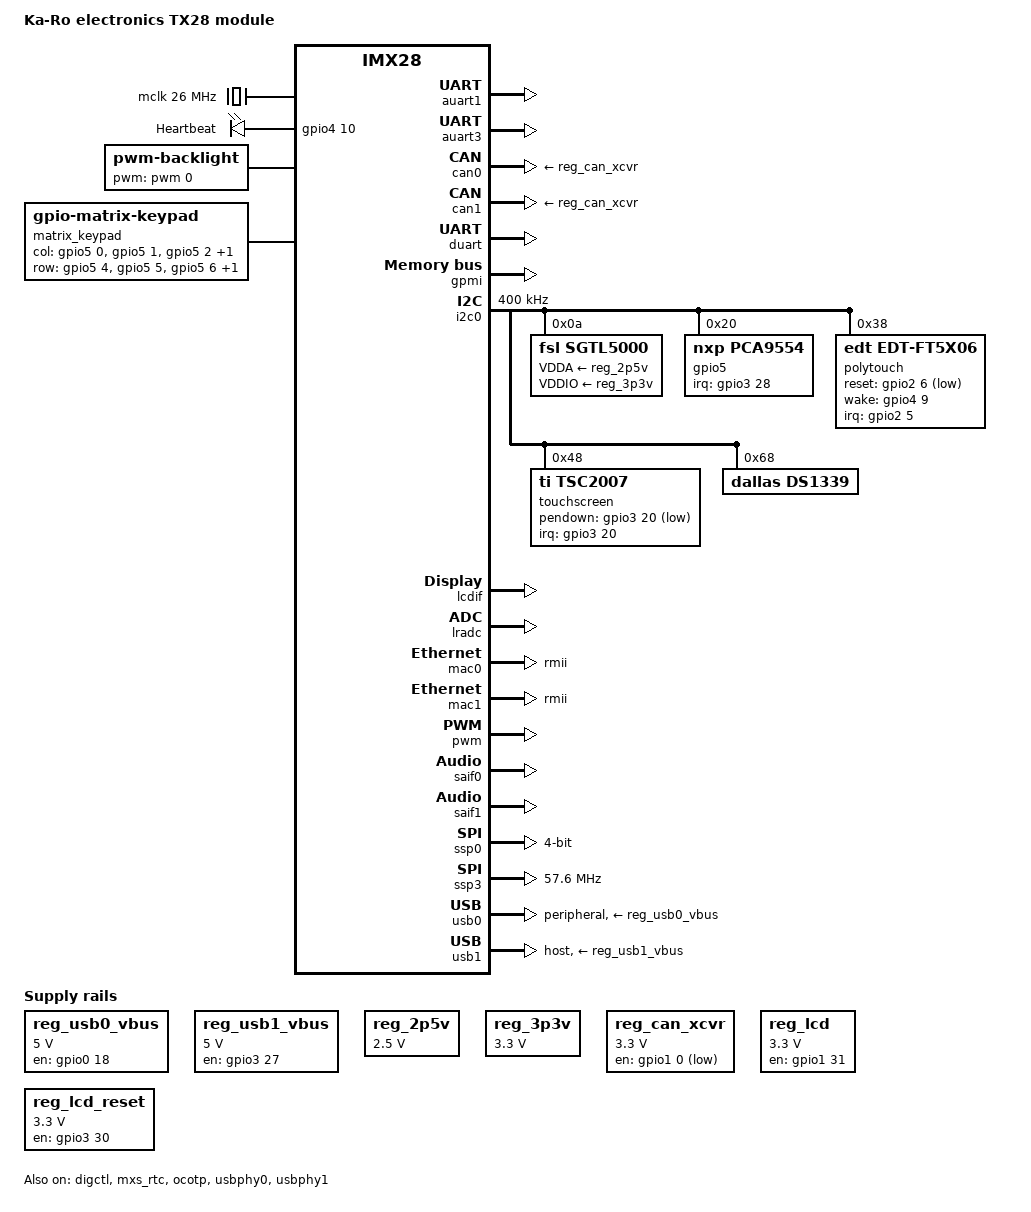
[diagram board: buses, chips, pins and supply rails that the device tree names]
// SPDX-License-Identifier: GPL-2.0 OR MIT
/*
 * Copyright 2012 Shawn Guo <shawn.guo@linaro.org>
 * Copyright 2013-2017 Lothar Waßmann <LW@KARO-electronics.de>
 */

/dts-v1/;
#include "imx28.dtsi"
#include <dt-bindings/gpio/gpio.h>
#include <dt-bindings/interrupt-controller/irq.h>

/ {
	model = "Ka-Ro electronics TX28 module";
	compatible = "karo,tx28", "fsl,imx28";

	aliases {
		can0 = &can0;
		can1 = &can1;
		display = &display0;
		ds1339 = &ds1339;
		gpio5 = &gpio5;
		lcdif = &lcdif;
		lcdif_23bit_pins = &tx28_lcdif_23bit_pins;
		lcdif_24bit_pins = &lcdif_24bit_pins_a;
		reg_can_xcvr = &reg_can_xcvr;
		spi_gpio = &spi_gpio;
		spi_mxs = &ssp3;
		stk5led = &user_led;
		usbotg = &usb0;
	};

	memory@40000000 {
		device_type = "memory";
		reg = <0x40000000 0>; /* will be filled in by U-Boot */
	};

	onewire {
		compatible = "w1-gpio";
		gpios = <&gpio2 7 GPIO_ACTIVE_HIGH>;
		status = "disabled";
	};

	reg_usb0_vbus: regulator-usb0-vbus {
		compatible = "regulator-fixed";
		regulator-name = "usb0_vbus";
		regulator-min-microvolt = <5000000>;
		regulator-max-microvolt = <5000000>;
		gpio = <&gpio0 18 GPIO_ACTIVE_HIGH>;
		enable-active-high;
	};

	reg_usb1_vbus: regulator-usb1-vbus {
		compatible = "regulator-fixed";
		regulator-name = "usb1_vbus";
		regulator-min-microvolt = <5000000>;
		regulator-max-microvolt = <5000000>;
		gpio = <&gpio3 27 GPIO_ACTIVE_HIGH>;
		enable-active-high;
	};

	reg_2p5v: regulator-2p5v {
		compatible = "regulator-fixed";
		regulator-name = "2P5V";
		regulator-min-microvolt = <2500000>;
		regulator-max-microvolt = <2500000>;
		regulator-always-on;
	};

	reg_3p3v: regulator-3p3v {
		compatible = "regulator-fixed";
		regulator-name = "3P3V";
		regulator-min-microvolt = <3300000>;
		regulator-max-microvolt = <3300000>;
		regulator-always-on;
	};

	reg_can_xcvr: regulator-can-xcvr {
		compatible = "regulator-fixed";
		regulator-name = "CAN XCVR";
		regulator-min-microvolt = <3300000>;
		regulator-max-microvolt = <3300000>;
		gpio = <&gpio1 0 GPIO_ACTIVE_HIGH>;
		pinctrl-names = "default";
		pinctrl-0 = <&tx28_flexcan_xcvr_pins>;
	};

	reg_lcd: regulator-lcd-power {
		compatible = "regulator-fixed";
		regulator-name = "LCD POWER";
		regulator-min-microvolt = <3300000>;
		regulator-max-microvolt = <3300000>;
		gpio = <&gpio1 31 GPIO_ACTIVE_HIGH>;
		enable-active-high;
	};

	reg_lcd_reset: regulator-lcd-reset {
		compatible = "regulator-fixed";
		regulator-name = "LCD RESET";
		regulator-min-microvolt = <3300000>;
		regulator-max-microvolt = <3300000>;
		gpio = <&gpio3 30 GPIO_ACTIVE_HIGH>;
		startup-delay-us = <300000>;
		enable-active-high;
		regulator-always-on;
		regulator-boot-on;
	};

	mclk: clock-mclk {
		compatible = "fixed-clock";
		#clock-cells = <0>;
		clock-frequency = <26000000>;
	};

	sound {
		compatible = "fsl,imx28-tx28-sgtl5000",
			     "fsl,mxs-audio-sgtl5000";
		model = "imx28-tx28-sgtl5000";
		saif-controllers = <&saif0 &saif1>;
		audio-codec = <&sgtl5000>;
	};

	leds {
		compatible = "gpio-leds";

		user_led: user {
			label = "Heartbeat";
			gpios = <&gpio4 10 GPIO_ACTIVE_HIGH>;
			linux,default-trigger = "heartbeat";
		};
	};

	backlight {
		compatible = "pwm-backlight";
		pwms = <&pwm 0 500000 0>;
		/*
		 * a silly way to create a 1:1 relationship between the
		 * PWM value and the actual duty cycle
		 */
		brightness-levels = < 0  1  2  3  4  5  6  7  8  9
				     10 11 12 13 14 15 16 17 18 19
				     20 21 22 23 24 25 26 27 28 29
				     30 31 32 33 34 35 36 37 38 39
				     40 41 42 43 44 45 46 47 48 49
				     50 51 52 53 54 55 56 57 58 59
				     60 61 62 63 64 65 66 67 68 69
				     70 71 72 73 74 75 76 77 78 79
				     80 81 82 83 84 85 86 87 88 89
				     90 91 92 93 94 95 96 97 98 99
				    100>;
		default-brightness-level = <50>;
	};

	matrix_keypad: matrix-keypad {
		compatible = "gpio-matrix-keypad";
		col-gpios = <
			&gpio5 0 GPIO_ACTIVE_HIGH
			&gpio5 1 GPIO_ACTIVE_HIGH
			&gpio5 2 GPIO_ACTIVE_HIGH
			&gpio5 3 GPIO_ACTIVE_HIGH
		>;
		row-gpios = <
			&gpio5 4 GPIO_ACTIVE_HIGH
			&gpio5 5 GPIO_ACTIVE_HIGH
			&gpio5 6 GPIO_ACTIVE_HIGH
			&gpio5 7 GPIO_ACTIVE_HIGH
		>;
		/* sample keymap */
		linux,keymap = <
			0x00000074 /* row 0, col 0, KEY_POWER */
			0x00010052 /* row 0, col 1, KEY_KP0 */
			0x0002004f /* row 0, col 2, KEY_KP1 */
			0x00030050 /* row 0, col 3, KEY_KP2 */
			0x01000051 /* row 1, col 0, KEY_KP3 */
			0x0101004b /* row 1, col 1, KEY_KP4 */
			0x0102004c /* row 1, col 2, KEY_KP5 */
			0x0103004d /* row 1, col 3, KEY_KP6 */
			0x02000047 /* row 2, col 0, KEY_KP7 */
			0x02010048 /* row 2, col 1, KEY_KP8 */
			0x02020049 /* row 2, col 2, KEY_KP9 */
		>;
		gpio-activelow;
		wakeup-source;
		debounce-delay-ms = <100>;
		col-scan-delay-us = <5000>;
		linux,no-autorepeat;
	};

	spi_gpio: spi {
		compatible = "spi-gpio";
		#address-cells = <1>;
		#size-cells = <0>;
		pinctrl-names = "default";
		pinctrl-0 = <&tx28_spi_gpio_pins>;

		sck-gpios = <&gpio2 24 GPIO_ACTIVE_HIGH>;
		mosi-gpios = <&gpio2 25 GPIO_ACTIVE_HIGH>;
		miso-gpios = <&gpio2 26 GPIO_ACTIVE_HIGH>;
		num-chipselects = <3>;
		cs-gpios = <
			&gpio2 27 GPIO_ACTIVE_LOW
			&gpio3 8 GPIO_ACTIVE_LOW
			&gpio3 9 GPIO_ACTIVE_LOW
		>;
		/* enable this and disable ssp3 below, if you need full duplex SPI transfer */
		status = "disabled";
	};
};

/* 2nd TX-Std UART - (A)UART1  */
&auart1 {
	pinctrl-names = "default";
	pinctrl-0 = <&auart1_pins_a>;
	status = "okay";
};

/* 3rd TX-Std UART - (A)UART3  */
&auart3 {
	pinctrl-names = "default";
	pinctrl-0 = <&auart3_pins_a>;
	status = "okay";
};

&can0 {
	pinctrl-names = "default";
	pinctrl-0 = <&can0_pins_a>;
	xceiver-supply = <&reg_can_xcvr>;
	status = "okay";
};

&can1 {
	pinctrl-names = "default";
	pinctrl-0 = <&can1_pins_a>;
	xceiver-supply = <&reg_can_xcvr>;
	status = "okay";
};

&digctl {
	status = "okay";
};

/* 1st TX-Std UART - (D)UART */
&duart {
	pinctrl-names = "default";
	pinctrl-0 = <&duart_4pins_a>;
	status = "okay";
};

&gpmi {
	pinctrl-0 = <&gpmi_pins_a &gpmi_status_cfg>;
	nand-on-flash-bbt;
	status = "okay";
};

&i2c0 {
	pinctrl-names = "default";
	pinctrl-0 = <&i2c0_pins_a>;
	clock-frequency = <400000>;
	status = "okay";

	sgtl5000: sgtl5000@a {
		compatible = "fsl,sgtl5000";
		reg = <0x0a>;
		#sound-dai-cells = <0>;
		VDDA-supply = <&reg_2p5v>;
		VDDIO-supply = <&reg_3p3v>;
		clocks = <&mclk>;
	};

	gpio5: pca953x@20 {
		compatible = "nxp,pca9554";
		reg = <0x20>;
		pinctrl-names = "default";
		pinctrl-0 = <&tx28_pca9554_pins>;
		interrupt-parent = <&gpio3>;
		interrupts = <28 IRQ_TYPE_NONE>;
		gpio-controller;
		#gpio-cells = <2>;
		interrupt-controller;
		#interrupt-cells = <2>;
	};

	polytouch: edt-ft5x06@38 {
		compatible = "edt,edt-ft5x06";
		reg = <0x38>;
		pinctrl-names = "default";
		pinctrl-0 = <&tx28_edt_ft5x06_pins>;
		interrupt-parent = <&gpio2>;
		interrupts = <5 IRQ_TYPE_EDGE_FALLING>;
		reset-gpios = <&gpio2 6 GPIO_ACTIVE_LOW>;
		wake-gpios = <&gpio4 9 GPIO_ACTIVE_HIGH>;
		wakeup-source;
	};

	touchscreen: tsc2007@48 {
		compatible = "ti,tsc2007";
		reg = <0x48>;
		pinctrl-names = "default";
		pinctrl-0 = <&tx28_tsc2007_pins>;
		interrupt-parent = <&gpio3>;
		interrupts = <20 IRQ_TYPE_EDGE_FALLING>;
		pendown-gpio = <&gpio3 20 GPIO_ACTIVE_LOW>;
		ti,x-plate-ohms = /bits/ 16 <660>;
	};

	ds1339: rtc@68 {
		compatible = "dallas,ds1339";
		reg = <0x68>;
		trickle-resistor-ohms = <250>;
		trickle-diode-disable;
	};
};

&lcdif {
	pinctrl-names = "default";
	pinctrl-0 = <&lcdif_24bit_pins_a &lcdif_sync_pins_a &tx28_lcdif_ctrl_pins>;
	lcd-supply = <&reg_lcd>;
	display = <&display0>;
	status = "okay";

	display0: display0 {
		bits-per-pixel = <32>;
		bus-width = <24>;
		display-timings {
			native-mode = <&timing5>;
			timing0: timing0 {
				panel-name = "VGA";
				clock-frequency = <25175000>;
				hactive = <640>;
				vactive = <480>;
				hback-porch = <48>;
				hsync-len = <96>;
				hfront-porch = <16>;
				vback-porch = <33>;
				vsync-len = <2>;
				vfront-porch = <10>;
				hsync-active = <0>;
				vsync-active = <0>;
				de-active = <1>;
				pixelclk-active = <1>;
			};

			timing1: timing1 {
				panel-name = "ETV570";
				clock-frequency = <25175000>;
				hactive = <640>;
				vactive = <480>;
				hback-porch = <114>;
				hsync-len = <30>;
				hfront-porch = <16>;
				vback-porch = <32>;
				vsync-len = <3>;
				vfront-porch = <10>;
				hsync-active = <0>;
				vsync-active = <0>;
				de-active = <1>;
				pixelclk-active = <1>;
			};

			timing2: timing2 {
				panel-name = "ET0350";
				clock-frequency = <6500000>;
				hactive = <320>;
				vactive = <240>;
				hback-porch = <34>;
				hsync-len = <34>;
				hfront-porch = <20>;
				vback-porch = <15>;
				vsync-len = <3>;
				vfront-porch = <4>;
				hsync-active = <0>;
				vsync-active = <0>;
				de-active = <1>;
				pixelclk-active = <1>;
			};

			timing3: timing3 {
				panel-name = "ET0430";
				clock-frequency = <9000000>;
				hactive = <480>;
				vactive = <272>;
				hback-porch = <2>;
				hsync-len = <41>;
				hfront-porch = <2>;
				vback-porch = <2>;
				vsync-len = <10>;
				vfront-porch = <2>;
				hsync-active = <0>;
				vsync-active = <0>;
				de-active = <1>;
				pixelclk-active = <1>;
			};

			timing4: timing4 {
				panel-name = "ET0500", "ET0700";
				clock-frequency = <33260000>;
				hactive = <800>;
				vactive = <480>;
				hback-porch = <88>;
				hsync-len = <128>;
				hfront-porch = <40>;
				vback-porch = <33>;
				vsync-len = <2>;
				vfront-porch = <10>;
				hsync-active = <0>;
				vsync-active = <0>;
				de-active = <1>;
				pixelclk-active = <1>;
			};

			timing5: timing5 {
				panel-name = "ETQ570";
				clock-frequency = <6400000>;
				hactive = <320>;
				vactive = <240>;
				hback-porch = <38>;
				hsync-len = <30>;
				hfront-porch = <30>;
				vback-porch = <16>;
				vsync-len = <3>;
				vfront-porch = <4>;
				hsync-active = <0>;
				vsync-active = <0>;
				de-active = <1>;
				pixelclk-active = <1>;
			};
		};
	};
};

&lradc {
	fsl,lradc-touchscreen-wires = <4>;
	status = "okay";
};

&mac0 {
	phy-mode = "rmii";
	pinctrl-names = "default", "gpio_mode";
	pinctrl-0 = <&mac0_pins_a>;
	pinctrl-1 = <&tx28_mac0_pins_gpio>;
	status = "okay";
};

&mac1 {
	phy-mode = "rmii";
	pinctrl-names = "default";
	pinctrl-0 = <&mac1_pins_a>;
	/* not enabled by default */
};

&mxs_rtc {
	status = "okay";
};

&ocotp {
	status = "okay";
};

&pwm {
	pinctrl-names = "default";
	pinctrl-0 = <&pwm0_pins_a>;
	status = "okay";
};

&pinctrl {
	pinctrl-names = "default";
	pinctrl-0 = <&hog_pins_a>;

	hog_pins_a: hog@0 {
		reg = <0>;
		fsl,pinmux-ids = <
			MX28_PAD_ENET0_RXD3__GPIO_4_10 /* module LED */
		>;
		fsl,drive-strength = <MXS_DRIVE_4mA>;
		fsl,voltage = <MXS_VOLTAGE_HIGH>;
		fsl,pull-up = <MXS_PULL_DISABLE>;
	};

	tx28_edt_ft5x06_pins: tx28-edt-ft5x06-pins@0 {
		reg = <0>;
		fsl,pinmux-ids = <
			MX28_PAD_SSP0_DATA6__GPIO_2_6 /* RESET */
			MX28_PAD_SSP0_DATA5__GPIO_2_5 /* IRQ */
			MX28_PAD_ENET0_RXD2__GPIO_4_9 /* WAKE */
		>;
		fsl,drive-strength = <MXS_DRIVE_4mA>;
		fsl,voltage = <MXS_VOLTAGE_HIGH>;
		fsl,pull-up = <MXS_PULL_DISABLE>;
	};

	tx28_flexcan_xcvr_pins: tx28-flexcan-xcvr-pins@0 {
		reg = <0>;
		fsl,pinmux-ids = <
			MX28_PAD_LCD_D00__GPIO_1_0
		>;
		fsl,drive-strength = <MXS_DRIVE_4mA>;
		fsl,voltage = <MXS_VOLTAGE_HIGH>;
		fsl,pull-up = <MXS_PULL_DISABLE>;
	};

	tx28_lcdif_23bit_pins: tx28-lcdif-23bit@0 {
		reg = <0>;
		fsl,pinmux-ids = <
			/* LCD_D00 may be used as Flexcan Transceiver Enable on STK5-V5 */
			MX28_PAD_LCD_D01__LCD_D1
			MX28_PAD_LCD_D02__LCD_D2
			MX28_PAD_LCD_D03__LCD_D3
			MX28_PAD_LCD_D04__LCD_D4
			MX28_PAD_LCD_D05__LCD_D5
			MX28_PAD_LCD_D06__LCD_D6
			MX28_PAD_LCD_D07__LCD_D7
			MX28_PAD_LCD_D08__LCD_D8
			MX28_PAD_LCD_D09__LCD_D9
			MX28_PAD_LCD_D10__LCD_D10
			MX28_PAD_LCD_D11__LCD_D11
			MX28_PAD_LCD_D12__LCD_D12
			MX28_PAD_LCD_D13__LCD_D13
			MX28_PAD_LCD_D14__LCD_D14
			MX28_PAD_LCD_D15__LCD_D15
			MX28_PAD_LCD_D16__LCD_D16
			MX28_PAD_LCD_D17__LCD_D17
			MX28_PAD_LCD_D18__LCD_D18
			MX28_PAD_LCD_D19__LCD_D19
			MX28_PAD_LCD_D20__LCD_D20
			MX28_PAD_LCD_D21__LCD_D21
			MX28_PAD_LCD_D22__LCD_D22
			MX28_PAD_LCD_D23__LCD_D23
		>;
		fsl,drive-strength = <MXS_DRIVE_4mA>;
		fsl,voltage = <MXS_VOLTAGE_HIGH>;
		fsl,pull-up = <MXS_PULL_DISABLE>;
	};

	tx28_lcdif_ctrl_pins: tx28-lcdif-ctrl@0 {
		reg = <0>;
		fsl,pinmux-ids = <
			MX28_PAD_LCD_ENABLE__GPIO_1_31 /* Enable */
			MX28_PAD_LCD_RESET__GPIO_3_30  /* Reset */
		>;
		fsl,drive-strength = <MXS_DRIVE_4mA>;
		fsl,voltage = <MXS_VOLTAGE_HIGH>;
		fsl,pull-up = <MXS_PULL_DISABLE>;
	};

	tx28_mac0_pins_gpio: tx28-mac0-gpio-pins@0 {
		reg = <0>;
		fsl,pinmux-ids = <
			MX28_PAD_ENET0_MDC__GPIO_4_0
			MX28_PAD_ENET0_MDIO__GPIO_4_1
			MX28_PAD_ENET0_RX_EN__GPIO_4_2
			MX28_PAD_ENET0_RXD0__GPIO_4_3
			MX28_PAD_ENET0_RXD1__GPIO_4_4
			MX28_PAD_ENET0_TX_EN__GPIO_4_6
			MX28_PAD_ENET0_TXD0__GPIO_4_7
			MX28_PAD_ENET0_TXD1__GPIO_4_8
			MX28_PAD_ENET_CLK__GPIO_4_16
		>;
		fsl,drive-strength = <MXS_DRIVE_4mA>;
		fsl,voltage = <MXS_VOLTAGE_HIGH>;
		fsl,pull-up = <MXS_PULL_DISABLE>;
	};

	tx28_pca9554_pins: tx28-pca9554-pins@0 {
		reg = <0>;
		fsl,pinmux-ids = <
			MX28_PAD_PWM3__GPIO_3_28
		>;
		fsl,drive-strength = <MXS_DRIVE_4mA>;
		fsl,voltage = <MXS_VOLTAGE_HIGH>;
		fsl,pull-up = <MXS_PULL_DISABLE>;
	};

	tx28_spi_gpio_pins: spi-gpiogrp@0 {
		reg = <0>;
		fsl,pinmux-ids = <
			MX28_PAD_AUART2_RX__GPIO_3_8
			MX28_PAD_AUART2_TX__GPIO_3_9
			MX28_PAD_SSP3_SCK__GPIO_2_24
			MX28_PAD_SSP3_MOSI__GPIO_2_25
			MX28_PAD_SSP3_MISO__GPIO_2_26
			MX28_PAD_SSP3_SS0__GPIO_2_27
		>;
		fsl,drive-strength = <MXS_DRIVE_8mA>;
		fsl,voltage = <MXS_VOLTAGE_HIGH>;
		fsl,pull-up = <MXS_PULL_DISABLE>;
	};

	tx28_tsc2007_pins: tx28-tsc2007-pins@0 {
		reg = <0>;
		fsl,pinmux-ids = <
			MX28_PAD_SAIF0_MCLK__GPIO_3_20 /* TSC2007 IRQ */
		>;
		fsl,drive-strength = <MXS_DRIVE_4mA>;
		fsl,voltage = <MXS_VOLTAGE_HIGH>;
		fsl,pull-up = <MXS_PULL_DISABLE>;
	};


	tx28_usbphy0_pins: tx28-usbphy0-pins@0 {
		reg = <0>;
		fsl,pinmux-ids = <
			MX28_PAD_GPMI_CE2N__GPIO_0_18 /* USBOTG_VBUSEN */
			MX28_PAD_GPMI_CE3N__GPIO_0_19 /* USBOTH_OC */
		>;
		fsl,drive-strength = <MXS_DRIVE_12mA>;
		fsl,voltage = <MXS_VOLTAGE_HIGH>;
		fsl,pull-up = <MXS_PULL_DISABLE>;
	};

	tx28_usbphy1_pins: tx28-usbphy1-pins@0 {
		reg = <0>;
		fsl,pinmux-ids = <
			MX28_PAD_SPDIF__GPIO_3_27 /* USBH_VBUSEN */
			MX28_PAD_JTAG_RTCK__GPIO_4_20 /* USBH_OC */
		>;
		fsl,drive-strength = <MXS_DRIVE_12mA>;
		fsl,voltage = <MXS_VOLTAGE_HIGH>;
		fsl,pull-up = <MXS_PULL_DISABLE>;
	};
};

&saif0 {
	pinctrl-names = "default";
	pinctrl-0 = <&saif0_pins_b>;
	fsl,saif-master;
	status = "okay";
};

&saif1 {
	pinctrl-names = "default";
	pinctrl-0 = <&saif1_pins_a>;
	status = "okay";
};

&ssp0 {
	compatible = "fsl,imx28-mmc";
	pinctrl-names = "default", "special";
	pinctrl-0 = <&mmc0_4bit_pins_a
		     &mmc0_cd_cfg
		     &mmc0_sck_cfg>;
	bus-width = <4>;
	status = "okay";
};

&ssp3 {
	compatible = "fsl,imx28-spi";
	pinctrl-names = "default";
	pinctrl-0 = <&spi3_pins_a>;
	clock-frequency = <57600000>;
	status = "okay";
};

&usb0 {
	vbus-supply = <&reg_usb0_vbus>;
	disable-over-current;
	dr_mode = "peripheral";
	phy_type = "utmi";
	status = "okay";
};

&usb1 {
	vbus-supply = <&reg_usb1_vbus>;
	disable-over-current;
	dr_mode = "host";
	phy_type = "utmi";
	status = "okay";
};

&usbphy0 {
	pinctrl-names = "default";
	pinctrl-0 = <&tx28_usbphy0_pins>;
	status = "okay";
};

&usbphy1 {
	pinctrl-names = "default";
	pinctrl-0 = <&tx28_usbphy1_pins>;
	status = "okay";
};
